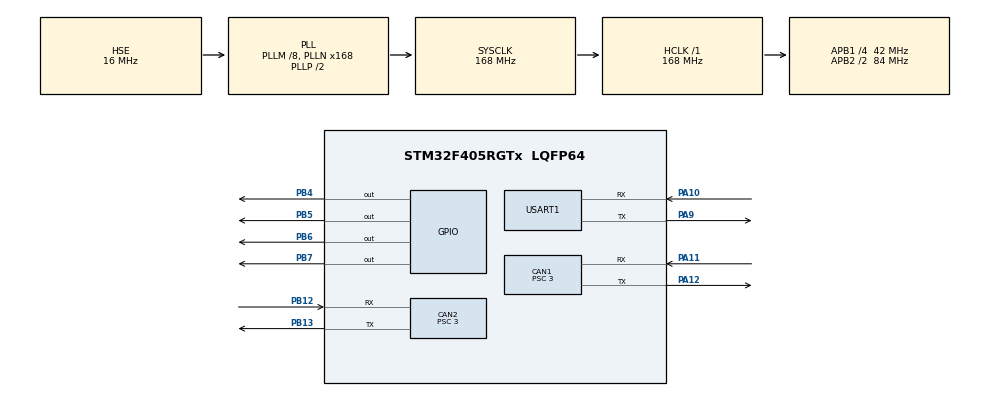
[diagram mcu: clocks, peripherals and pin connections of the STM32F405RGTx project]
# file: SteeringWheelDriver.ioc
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CAN1.BS1=CAN_BS1_11TQ
CAN1.BS2=CAN_BS2_2TQ
CAN1.CalculateBaudRate=1000000
CAN1.CalculateTimeBit=1000
CAN1.CalculateTimeQuantum=71.42857142857143
CAN1.Prescaler=3
CAN2.BS1=CAN_BS1_11TQ
CAN2.BS2=CAN_BS2_2TQ
CAN2.CalculateBaudRate=1000000
CAN2.CalculateTimeBit=1000
CAN2.CalculateTimeQuantum=71.42857142857143
CAN2.Prescaler=3
Mcu.Family=STM32F4
Mcu.Name=STM32F405RGTx
Mcu.Package=LQFP64
NVIC.CAN1_RX0_IRQn=true\:1\:0\:true\:false\:true\:true\:true\:true
NVIC.CAN1_TX_IRQn=true\:0\:0\:false\:false\:true\:true\:true\:true
NVIC.CAN2_RX0_IRQn=true\:1\:0\:true\:false\:true\:true\:true\:true
NVIC.CAN2_TX_IRQn=true\:0\:0\:false\:false\:true\:true\:true\:true
NVIC.PriorityGroup=NVIC_PRIORITYGROUP_4
NVIC.TIM6_DAC_IRQn=true\:0\:0\:true\:false\:true\:true\:true\:true
PA10.Mode=Asynchronous
PA10.Signal=USART1_RX
PA11.Mode=CAN_Activate
PA11.Signal=CAN1_RX
PA12.Mode=CAN_Activate
PA12.Signal=CAN1_TX
PA13.Mode=Serial_Wire
PA13.Signal=SYS_JTMS-SWDIO
PA14.Mode=Serial_Wire
PA14.Signal=SYS_JTCK-SWCLK
PA9.Mode=Asynchronous
PA9.Signal=USART1_TX
PB12.Mode=CAN_Activate
PB12.Signal=CAN2_RX
PB13.Mode=CAN_Activate
PB13.Signal=CAN2_TX
PB4.PinState=GPIO_PIN_SET
PB4.Signal=GPIO_Output
PB5.PinState=GPIO_PIN_SET
PB5.Signal=GPIO_Output
PB6.PinState=GPIO_PIN_SET
PB6.Signal=GPIO_Output
PB7.PinState=GPIO_PIN_SET
PB7.Signal=GPIO_Output
PH0-OSC_IN.Mode=HSE-External-Oscillator
PH0-OSC_IN.Signal=RCC_OSC_IN
PH1-OSC_OUT.Mode=HSE-External-Oscillator
PH1-OSC_OUT.Signal=RCC_OSC_OUT
ProjectManager.HeapSize=0x200
ProjectManager.StackSize=0x400
ProjectManager.TargetToolchain=MDK-ARM V5.32
RCC.48MHZClocksFreq_Value=84000000
RCC.AHBFreq_Value=168000000
RCC.APB1CLKDivider=RCC_HCLK_DIV4
RCC.APB1Freq_Value=42000000
RCC.APB1TimFreq_Value=84000000
RCC.APB2CLKDivider=RCC_HCLK_DIV2
RCC.APB2Freq_Value=84000000
RCC.APB2TimFreq_Value=168000000
RCC.CortexFreq_Value=168000000
RCC.HCLKFreq_Value=168000000
RCC.HSE_VALUE=16000000
RCC.HSI_VALUE=16000000
RCC.LSE_VALUE=32768
RCC.PLLM=8
RCC.PLLN=168
RCC.PLLSourceVirtual=RCC_PLLSOURCE_HSE
RCC.SYSCLKFreq_VALUE=168000000
RCC.SYSCLKSource=RCC_SYSCLKSOURCE_PLLCLK
RCC.VCOOutputFreq_Value=336000000
TIM6.Period=1000-1
TIM6.Prescaler=84-1
USART1.VirtualMode=VM_ASYNC
VP_TIM6_VS_ClockSourceINT.Mode=Enable_Timer
board=custom

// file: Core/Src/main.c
/* USER CODE BEGIN Header */
/**
  ******************************************************************************
  * @file           : main.c
  * @brief          : Main program body
  ******************************************************************************
  * @attention
  *
  * Copyright (c) 2026 STMicroelectronics.
  * All rights reserved.
  *
  * This software is licensed under terms that can be found in the LICENSE file
  * in the root directory of this software component.
  * If no LICENSE file comes with this software, it is provided AS-IS.
  *
  ******************************************************************************
  */
/* USER CODE END Header */
#include "main.h"
#include "can.h"
#include "tim.h"
#include "usart.h"
#include "gpio.h"

/* USER CODE BEGIN Includes */
#include <math.h>
#include <stdio.h>

#include "GM6020.h"
#include "MasterCan.h"
#include "VESC.h"
#include "angle_opt.h"
#include "bsp_can.h"
#include "setpoint_ramp.h"
/* USER CODE END Includes */

/* USER CODE BEGIN PTD */

/*
 * ============================================================================
 * 舵轮分控板顶层应用说明
 * ============================================================================
 *
 * 数据流：
 *   主控 CAN2 控制帧
 *       -> MasterCan 解码并维护链路状态
 *       -> 主控坐标映射
 *       -> AngleOpt 选择最短物理等效舵向和 ERPM 符号
 *       -> SetpointRamp 平滑 GM6020 目标角
 *       -> GM6020 位置环 + VESC 内置速度环
 *
 * 运行节拍：
 *   - CAN 接收中断：只完成当前报文的解码和状态更新。
 *   - TIM6 1 kHz：链路/执行器安全检查、命令应用、位置斜坡和驱动控制。
 *   - 主循环：10 ms 更新 LED，20 ms 输出一次 UART 遥测。
 *
 * 故障策略：
 *   - 主控链路、GM6020、VESC 任一失效时，整轮立即失能。
 *   - 故障后清除待处理控制帧；恢复时必须收到一帧新的有效控制命令。
 *   - 失能时保留最后目标和故障信息，便于串口诊断。
 */

/* USER CODE END PTD */

/* USER CODE BEGIN PD */

/* 设备身份：主控轮号、GM6020 ID、机械零位和 VESC ID。 */
#define APP_MASTER_WHEEL_ID          1U
#define APP_GM6020_ID                1U
#define APP_GM6020_ZERO_RAW          1386U
#define APP_VESC_CONTROLLER_ID       67U

/*
 * 主控角度到舵轮本地坐标的线性映射：
 *   target_wheel = SIGN * target_master + OFFSET
 * 当前安装方向与主控坐标同向，因此 sign=+1、offset=0。
 */
#define APP_MASTER_ANGLE_SIGN        1.0f
#define APP_MASTER_ANGLE_OFFSET_DEG  0.0f

/*
 * 定时参数：
 * - 启动后 500 ms 内四个 LED 常亮，并强制禁止执行器使能；
 * - 遥测周期 20 ms 对应 50 Hz；
 * - LED 周期 10 ms，避免主循环高频重复写 GPIO。
 */
#define APP_SELF_TEST_MS             500U
#define APP_TELEMETRY_MS             20U
#define APP_LED_UPDATE_MS            10U

/* 测试 LED 映射，所有 LED 均为低电平点亮。 */
#define APP_LED_MASTER_PIN           GPIO_PIN_4
#define APP_LED_VESC_PIN             GPIO_PIN_5
#define APP_LED_ENABLE_PIN           GPIO_PIN_6
#define APP_LED_GM6020_PIN           GPIO_PIN_7

/*
 * UART 遥测故障位。多个故障可同时出现，串口输出的是这些位按位或的结果。
 * TX 故障位只作为诊断提示，不直接参与电机安全判断。
 */
#define APP_FAULT_MASTER_LINK        0x00000001U
#define APP_FAULT_NO_CONTROL         0x00000002U
#define APP_FAULT_GM6020_OFFLINE     0x00000004U
#define APP_FAULT_VESC_OFFLINE       0x00000008U
#define APP_FAULT_NEED_FRESH         0x00000010U
#define APP_FAULT_GM6020_TX          0x00000020U
#define APP_FAULT_VESC_TX            0x00000040U

/* USER CODE END PD */

/* USER CODE BEGIN PV */

/* 驱动和协议模块的持久上下文，由 main.c 统一持有并传入各模块。 */
static GM6020_t g_gm6020;
static VESC_t g_vesc;
static MasterCan_t g_master;
static SetpointRamp_t g_target_ramp;

/* TIM6 维护的自由运行毫秒时钟，支持 uint32_t 自然回绕。 */
static volatile uint32_t g_ms;

/*
 * CAN2 中断写入、TIM6 消费的新控制帧标志。
 * 角度候选只在收到新控制帧时重新选择，不能在 1 kHz 周期中反复计算。
 */
static volatile uint32_t g_control_pending;

/* 应用层在线状态；由 TIM6 根据最近反馈时间和驱动超时参数计算。 */
static volatile uint8_t g_gm6020_online;
static volatile uint8_t g_vesc_online;

/* 整轮状态：active 表示当前使能运行；need_fresh 表示必须等待新控制帧。 */
static volatile uint8_t g_wheel_active;
static volatile uint8_t g_need_fresh_control;

/* 最近一次命令转换结果，供 UART 遥测和故障分析使用。 */
static volatile uint8_t g_angle_reversed;
static volatile float g_mapped_target_deg;
static volatile float g_final_target_angle_deg;
static volatile int32_t g_final_target_erpm;

/*
 * UART1 非阻塞发送状态：
 * g_uart_busy 由主循环置位，由发送完成中断清零。
 * 其余周期调度时间戳只由主循环读写。
 */
static volatile uint8_t g_uart_busy;
static char g_uart_buffer[384];
static uint32_t g_last_telemetry_ms;
static uint32_t g_last_led_ms;
/* USER CODE END PV */

void SystemClock_Config(void);

/* USER CODE BEGIN 0 */

/**
 * @brief 计算用于遥测显示的时间差。
 * @param now_ms 当前毫秒时间。
 * @param timestamp_ms 待检查事件的时间戳。
 * @return 时间差；时间戳为 0 时返回 0xFFFFFFFF，表示尚未收到。
 */
static uint32_t App_AgeMs(uint32_t now_ms, uint32_t timestamp_ms)
{
    if (timestamp_ms == 0U)
    {
        return 0xFFFFFFFFU;
    }

    return (uint32_t)(now_ms - timestamp_ms);
}

/**
 * @brief 计算无符号毫秒时间差，不把时间戳 0 当作无效值。
 * @note 用于在线判断；设备可能在系统启动后的第 0 ms 收到第一帧。
 */
static uint32_t App_ElapsedMs(uint32_t now_ms, uint32_t timestamp_ms)
{
    return (uint32_t)(now_ms - timestamp_ms);
}

/**
 * @brief 将任意角度归一化到 [0, 360)。
 * @note 主控坐标映射后调用；AngleOpt 内部仍会再次执行归一化。
 */
static float App_Wrap360(float angle_deg)
{
    angle_deg = fmodf(angle_deg, 360.0f);
    if (angle_deg < 0.0f)
    {
        angle_deg += 360.0f;
    }

    return angle_deg;
}

/**
 * @brief 同时失能 GM6020 和 VESC，并进入“等待新控制帧”状态。
 * @note 不清除主控最后解码值、最终角度目标和 ERPM，故障时仍可通过遥测观察。
 */
static void App_DisableWheel(void)
{
    if (g_gm6020.is_enabled)
    {
        GM6020_Disable(&g_gm6020);
    }

    if (g_vesc.is_enabled)
    {
        VESC_Disable(&g_vesc);
    }

    g_wheel_active = 0U;
    g_need_fresh_control = 1U;
}

/**
 * @brief 应用 CAN2 收到的新控制帧。
 *
 * 处理顺序：
 * 1. 把主控角度映射到舵轮本地坐标；
 * 2. 只在本函数中执行一次 AngleOpt 候选选择；
 * 3. 首次运行时使能两个执行器，并把斜坡起点设为当前 GM6020 角度；
 * 4. 写入最终角度和 ERPM 目标。
 *
 * @note 只能在 TIM6 回调中调用，确保与 1 kHz 控制步骤处于同一上下文。
 * @note 后续控制帧不会重置斜坡或 PID，以保持已调好的动态行为。
 */
static void App_ApplyPendingControl(void)
{
    AngleOptResult_t result;
    float mapped_target_deg;

    /* 当前安装方向与主控坐标同向；保留 sign/offset 供后续机械调整。 */
    mapped_target_deg = App_Wrap360(
        (APP_MASTER_ANGLE_SIGN * g_master.target_angle_deg) +
        APP_MASTER_ANGLE_OFFSET_DEG);

    /* 角度候选一旦选定就保持，直到下一帧主控控制命令到达。 */
    AngleOpt_Select(g_gm6020.angle_deg,
                    mapped_target_deg,
                    g_master.drive_erpm,
                    &result);

    /* 首次进入活动状态时，确保目标从实际当前位置连续开始。 */
    if (!g_wheel_active)
    {
        GM6020_Enable(&g_gm6020);
        VESC_Enable(&g_vesc);
        SetpointRamp_Reset(&g_target_ramp, g_gm6020.angle_deg);
        g_wheel_active = 1U;
    }

    g_mapped_target_deg = mapped_target_deg;
    g_final_target_angle_deg = result.target_angle_deg;
    g_final_target_erpm = result.target_erpm;
    g_angle_reversed = result.reversed;

    SetpointRamp_SetDesired(&g_target_ramp,
                            result.target_angle_deg);
    VESC_SetTargetErpm(&g_vesc, result.target_erpm);

    g_control_pending = 0U;
    g_need_fresh_control = 0U;
}

/**
 * @brief 1 kHz 应用控制步骤。
 *
 * 本函数完成链路更新、执行器在线判断、整轮故障闭合、新命令应用、
 * 位置斜坡更新和两个执行器的控制输出。它只能由 TIM6 周期中断调用。
 */
static void App_ControlStep(void)
{
    uint8_t master_ready;
    uint8_t actuators_online;

    MasterCan_Update(&g_master, g_ms);

    /* 直接根据最近反馈时间判断在线，确保 LED 和安全逻辑及时响应。 */
    g_gm6020_online =
        (g_gm6020.is_online &&
         (App_ElapsedMs(g_ms, g_gm6020.last_rx_ms) <=
          g_gm6020.online_timeout_ms)) ? 1U : 0U;
    g_vesc_online =
        (g_vesc.is_online &&
         (App_ElapsedMs(g_ms, g_vesc.last_rx_ms) <=
          g_vesc.online_timeout_ms)) ? 1U : 0U;

    if (g_ms < APP_SELF_TEST_MS)
    {
        /* 自检期间禁止整个舵轮使能，而不只是点亮 LED。 */
        App_DisableWheel();
        GM6020_ControlStep(&g_gm6020, g_ms);
        VESC_ControlStep(&g_vesc, g_ms);
        return;
    }

    master_ready =
        (g_master.link_valid && g_master.control_seen) ? 1U : 0U;
    actuators_online =
        (g_gm6020_online && g_vesc_online) ? 1U : 0U;

    /*
     * 故障闭合：
     * - master_ready 要求心跳链路有效且已收到控制目标；
     * - actuators_online 要求两个执行器都在超时窗口内。
     * 清除 pending 可防止故障期间收到的控制帧在恢复后被误执行。
     */
    if (!master_ready || !actuators_online)
    {
        g_control_pending = 0U;
        App_DisableWheel();
    }
    else
    {
        if (g_control_pending)
        {
            /* 新控制帧只在这里应用一次。 */
            App_ApplyPendingControl();
        }

        if (g_wheel_active && !g_need_fresh_control)
        {
            /* GM6020 使用位置斜坡；VESC ERPM 按主控命令直接输出。 */
            SetpointRamp_Update(&g_target_ramp, 0.001f);
            GM6020_SetTargetAngle(
                &g_gm6020,
                SetpointRamp_GetOutput(&g_target_ramp));
        }
    }

    GM6020_ControlStep(&g_gm6020, g_ms);
    VESC_ControlStep(&g_vesc, g_ms);
}

/**
 * @brief 组装 UART 遥测中的故障标志位。
 * @note 这些标志只用于诊断；控制安全由 App_ControlStep 的实时条件直接决定。
 */
static uint32_t App_GetFaultFlags(void)
{
    uint32_t flags = 0U;

    if (!g_master.link_valid)
    {
        flags |= APP_FAULT_MASTER_LINK;
    }
    if (!g_master.control_seen)
    {
        flags |= APP_FAULT_NO_CONTROL;
    }
    if (!g_gm6020_online)
    {
        flags |= APP_FAULT_GM6020_OFFLINE;
    }
    if (!g_vesc_online)
    {
        flags |= APP_FAULT_VESC_OFFLINE;
    }
    if (g_need_fresh_control)
    {
        flags |= APP_FAULT_NEED_FRESH;
    }
    if (g_gm6020.last_tx_status != HAL_OK)
    {
        flags |= APP_FAULT_GM6020_TX;
    }
    if (g_vesc.last_tx_status != HAL_OK)
    {
        flags |= APP_FAULT_VESC_TX;
    }

    return flags;
}

/**
 * @brief 按在线、使能和整轮活动状态刷新四个 LED。
 * @note LED 为低电平点亮；500 ms 自检阶段四灯全亮。
 */
static void App_UpdateLeds(void)
{
    uint8_t enabled;

    if (g_ms < APP_SELF_TEST_MS)
    {
        HAL_GPIO_WritePin(
            GPIOB,
            APP_LED_MASTER_PIN |
                APP_LED_VESC_PIN |
                APP_LED_ENABLE_PIN |
                APP_LED_GM6020_PIN,
            GPIO_PIN_RESET);
        return;
    }

    enabled =
        (g_wheel_active &&
         g_gm6020.is_enabled &&
         g_vesc.is_enabled) ? 1U : 0U;

    HAL_GPIO_WritePin(GPIOB,
                      APP_LED_MASTER_PIN,
                      g_master.link_valid ? GPIO_PIN_RESET : GPIO_PIN_SET);
    HAL_GPIO_WritePin(GPIOB,
                      APP_LED_VESC_PIN,
                      g_vesc_online ? GPIO_PIN_RESET : GPIO_PIN_SET);
    HAL_GPIO_WritePin(GPIOB,
                      APP_LED_ENABLE_PIN,
                      enabled ? GPIO_PIN_RESET : GPIO_PIN_SET);
    HAL_GPIO_WritePin(GPIOB,
                      APP_LED_GM6020_PIN,
                      g_gm6020_online ? GPIO_PIN_RESET : GPIO_PIN_SET);
}

/**
 * @brief 以 50 Hz 组装并通过 UART1 中断发送一帧 CSV 遥测。
 *
 * 通道顺序（角度类均为实际值乘 100）：
 *   1 时间ms, 2 主控链路, 3 控制可用, 4 GM在线, 5 VESC在线,
 *   6 整轮活动, 7 方向反转, 8 需新控制, 9 主控ERPM, 10 角度码,
 *   11 主控目标角, 12 映射后目标角, 13 最终舵向角, 14 最终ERPM,
 *   15 GM实际角, 16 GM转速, 17 GM电流, 18 GM温度, 19 GM目标电压,
 *   20 VESC实际ERPM, 21 VESC电流mA, 22 VESC占空比×1000,
 *   23 斜坡输出角, 24 斜坡速度, 25 控制帧年龄ms,
 *   26 心跳帧年龄ms, 27 故障标志。
 *
 * @note UART 忙时跳过本次遥测，绝不阻塞 1 kHz 控制。
 */
static void App_SendTelemetry(void)
{
    int length;

    if (g_uart_busy)
    {
        return;
    }

    length = snprintf(
        g_uart_buffer,
        sizeof(g_uart_buffer),
        "%u,%u,%u,%u,%u,%u,%u,%u,"
        "%d,%u,%d,%d,%d,%d,"
        "%d,%d,%d,%u,%d,"
        "%d,%d,%d,%d,%d,"
        "%u,%u,%u\r\n",
        (unsigned)g_ms,
        (unsigned)g_master.link_valid,
        (unsigned)g_master.control_seen,
        (unsigned)g_gm6020_online,
        (unsigned)g_vesc_online,
        (unsigned)g_wheel_active,
        (unsigned)g_angle_reversed,
        (unsigned)g_need_fresh_control,
        (int)g_master.drive_erpm,
        (unsigned)g_master.angle_code,
        (int)(g_master.target_angle_deg * 100.0f),
        (int)(g_mapped_target_deg * 100.0f),
        (int)(g_final_target_angle_deg * 100.0f),
        (int)g_final_target_erpm,
        (int)(g_gm6020.angle_deg * 100.0f),
        (int)g_gm6020.speed_rpm,
        (int)g_gm6020.current_raw,
        (unsigned)g_gm6020.temperature,
        (int)g_gm6020.target_voltage,
        (int)g_vesc.actual_erpm,
        (int)(g_vesc.actual_current_a * 1000.0f),
        (int)(g_vesc.duty * 1000.0f),
        (int)(SetpointRamp_GetOutput(&g_target_ramp) * 100.0f),
        (int)SetpointRamp_GetVelocity(&g_target_ramp),
        (unsigned)App_AgeMs(g_ms, g_master.last_control_ms),
        (unsigned)App_AgeMs(g_ms, g_master.last_heartbeat_ms),
        (unsigned)App_GetFaultFlags());

    if ((length > 0) &&
        ((uint32_t)length < sizeof(g_uart_buffer)))
    {
        if (HAL_UART_Transmit_IT(
                &huart1,
                (uint8_t *)g_uart_buffer,
                (uint16_t)length) == HAL_OK)
        {
            g_uart_busy = 1U;
        }
    }
}

/**
 * @brief 初始化应用上下文、驱动对象和串口中断。
 * @note CAN 总线和 TIM6 在本函数之后由 main 按顺序启动。
 */
static void App_Init(void)
{
    g_ms = 0U;
    g_control_pending = 0U;
    g_gm6020_online = 0U;
    g_vesc_online = 0U;
    g_wheel_active = 0U;
    g_need_fresh_control = 1U;
    g_angle_reversed = 0U;
    g_mapped_target_deg = 0.0f;
    g_final_target_angle_deg = 0.0f;
    g_final_target_erpm = 0;
    g_uart_busy = 0U;
    g_last_telemetry_ms = 0U;
    g_last_led_ms = 0U;

    MasterCan_Init(&g_master, APP_MASTER_WHEEL_ID);

    GM6020_Init(&g_gm6020,
                &hcan1,
                APP_GM6020_ID,
                APP_GM6020_ZERO_RAW,
                1,
                1,
                1.0f);

    VESC_Init(&g_vesc, &hcan1, APP_VESC_CONTROLLER_ID);

    SetpointRamp_Init(
        &g_target_ramp,
        0.0f,
        SETPOINT_RAMP_DEFAULT_MAX_SPEED_DEG_S,
        SETPOINT_RAMP_DEFAULT_MAX_ACCEL_DEG_S2);

    HAL_NVIC_SetPriority(USART1_IRQn, 3U, 0U);
    HAL_NVIC_EnableIRQ(USART1_IRQn);
}

/* USER CODE END 0 */

int main(void)
{

  /* MCU Configuration--------------------------------------------------------*/

  /* Reset of all peripherals, Initializes the Flash interface and the Systick. */
  HAL_Init();

  /* Configure the system clock */
  SystemClock_Config();

  /* Initialize all configured peripherals */
  MX_GPIO_Init();
  MX_CAN1_Init();
  MX_CAN2_Init();
  MX_TIM6_Init();
  MX_USART1_UART_Init();
  /* USER CODE BEGIN 2 */
  /* 先建立应用对象，再启动接收总线和 1 kHz 控制节拍。 */
  App_Init();

  /* CAN1 承载 GM6020 和 VESC，对本测试场景接收全部帧类型。 */
  if (BSP_CAN_StartAcceptAll(&hcan1) != HAL_OK)
  {
    Error_Handler();
  }

  /* CAN2 只接收本轮的 0x101 控制帧和 0x111 心跳帧。 */
  if (BSP_CAN_StartMasterFilter(
          &hcan2,
          APP_MASTER_WHEEL_ID) != HAL_OK)
  {
    Error_Handler();
  }

  /* 模块和 CAN 均就绪后最后启动控制中断。 */
  if (HAL_TIM_Base_Start_IT(&htim6) != HAL_OK)
  {
    Error_Handler();
  }

  /* USER CODE END 2 */

  /* Infinite loop */
  while (1)
  {

    /* USER CODE BEGIN 3 */
    /* 主循环只做低频状态显示和遥测，时间基准来自 TIM6。 */
    if ((uint32_t)(g_ms - g_last_led_ms) >= APP_LED_UPDATE_MS)
    {
      g_last_led_ms = g_ms;
      App_UpdateLeds();
    }

    if ((uint32_t)(g_ms - g_last_telemetry_ms) >= APP_TELEMETRY_MS)
    {
      g_last_telemetry_ms = g_ms;
      App_SendTelemetry();
    }
  }
  /* USER CODE END 3 */
}

void SystemClock_Config(void)
{
  RCC_OscInitTypeDef RCC_OscInitStruct = {0};
  RCC_ClkInitTypeDef RCC_ClkInitStruct = {0};

  /** Configure the main internal regulator output voltage
  */
  __HAL_RCC_PWR_CLK_ENABLE();
  __HAL_PWR_VOLTAGESCALING_CONFIG(PWR_REGULATOR_VOLTAGE_SCALE1);

  /** Initializes the RCC Oscillators according to the specified parameters
  * in the RCC_OscInitTypeDef structure.
  */
  RCC_OscInitStruct.OscillatorType = RCC_OSCILLATORTYPE_HSE;
  RCC_OscInitStruct.HSEState = RCC_HSE_ON;
  RCC_OscInitStruct.PLL.PLLState = RCC_PLL_ON;
  RCC_OscInitStruct.PLL.PLLSource = RCC_PLLSOURCE_HSE;
  RCC_OscInitStruct.PLL.PLLM = 8;
  RCC_OscInitStruct.PLL.PLLN = 168;
  RCC_OscInitStruct.PLL.PLLP = RCC_PLLP_DIV2;
  RCC_OscInitStruct.PLL.PLLQ = 4;
  if (HAL_RCC_OscConfig(&RCC_OscInitStruct) != HAL_OK)
  {
    Error_Handler();
  }

  /** Initializes the CPU, AHB and APB buses clocks
  */
  RCC_ClkInitStruct.ClockType = RCC_CLOCKTYPE_HCLK|RCC_CLOCKTYPE_SYSCLK
                              |RCC_CLOCKTYPE_PCLK1|RCC_CLOCKTYPE_PCLK2;
  RCC_ClkInitStruct.SYSCLKSource = RCC_SYSCLKSOURCE_PLLCLK;
  RCC_ClkInitStruct.AHBCLKDivider = RCC_SYSCLK_DIV1;
  RCC_ClkInitStruct.APB1CLKDivider = RCC_HCLK_DIV4;
  RCC_ClkInitStruct.APB2CLKDivider = RCC_HCLK_DIV2;

  if (HAL_RCC_ClockConfig(&RCC_ClkInitStruct, FLASH_LATENCY_5) != HAL_OK)
  {
    Error_Handler();
  }
}

/* USER CODE BEGIN 4 */

/**
 * @brief CAN1/CAN2 共用的 RX FIFO0 中断入口。
 *
 * CAN1 帧同时交给 GM6020 和 VESC 解码，两个驱动会自行过滤无关 ID。
 * CAN2 帧交给 MasterCan；只有格式正确的本轮控制帧才置 control_pending。
 */
void HAL_CAN_RxFifo0MsgPendingCallback(CAN_HandleTypeDef *hcan)
{
    CAN_RxHeaderTypeDef header;
    uint8_t data[8];
    uint8_t valid_master_control;

    if ((hcan != &hcan1) && (hcan != &hcan2))
    {
        return;
    }

    while (HAL_CAN_GetRxFifoFillLevel(
               hcan,
               CAN_RX_FIFO0) > 0U)
    {
        if (HAL_CAN_GetRxMessage(
                hcan,
                CAN_RX_FIFO0,
                &header,
                data) != HAL_OK)
        {
            break;
        }

        if (hcan == &hcan1)
        {
            GM6020_OnRx(&g_gm6020, &header, data, g_ms);
            VESC_OnRx(&g_vesc, &header, data, g_ms);
        }
        else
        {
            valid_master_control =
                ((header.IDE == CAN_ID_STD) &&
                 (header.RTR == CAN_RTR_DATA) &&
                 (header.DLC == 8U) &&
                 (header.StdId == g_master.control_id)) ? 1U : 0U;

            MasterCan_OnRx(&g_master, &header, data, g_ms);

            if (valid_master_control)
            {
                g_control_pending = 1U;
            }
        }
    }
}

/**
 * @brief TIM6 1 kHz 周期回调，驱动整个舵轮的实时控制。
 */
void HAL_TIM_PeriodElapsedCallback(TIM_HandleTypeDef *htim)
{
    if ((htim != NULL) && (htim->Instance == TIM6))
    {
        g_ms++;
        App_ControlStep();
    }
}

/**
 * @brief USART1 中断入口，由 HAL 完成非阻塞发送中断处理。
 */
void USART1_IRQHandler(void)
{
    HAL_UART_IRQHandler(&huart1);
}

/**
 * @brief UART1 发送完成回调，释放下一次遥测发送许可。
 */
void HAL_UART_TxCpltCallback(UART_HandleTypeDef *huart)
{
    if (huart == &huart1)
    {
        g_uart_busy = 0U;
    }
}

/* USER CODE END 4 */

void Error_Handler(void)
{
  __disable_irq();
  while (1)
  {
  }
}
